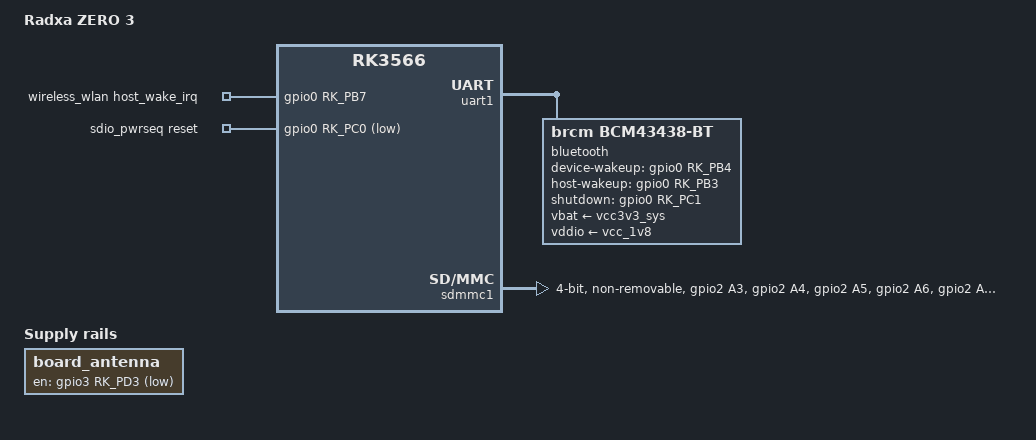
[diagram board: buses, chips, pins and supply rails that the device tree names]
// SPDX-License-Identifier: (GPL-2.0+ OR MIT)
/*
 * Copyright (c) 2022 Rockchip Electronics Co., Ltd.
 * Copyright (c) 2023 Radxa Limited.
 *
 */

/dts-v1/;

#include "rk3566-radxa-zero3.dtsi"

/ {
	model = "Radxa ZERO 3";
	compatible ="radxa,zero3", "rockchip,rk3566";

	wireless_wlan: wireless-wlan {
		compatible = "wlan-platdata";
		wifi_chip_type = "ap6212";
		pinctrl-names = "default";
		pinctrl-0 = <&wifi_host_wake_irq>;
		WIFI,host_wake_irq = <&gpio0 RK_PB7 GPIO_ACTIVE_HIGH>;
		status = "okay";
	};

	sdio_pwrseq: sdio-pwrseq {
		compatible = "mmc-pwrseq-simple";
		pinctrl-names = "default";
		pinctrl-0 = <&wifi_enable_h>;
		reset-gpios = <&gpio0 RK_PC0 GPIO_ACTIVE_LOW>;
	};

	board_antenna: board-antenna {
		status = "okay";
		compatible = "regulator-fixed";
		enable-active-low;
		gpio = <&gpio3 RK_PD3 GPIO_ACTIVE_LOW>;
		regulator-always-on;
		regulator-boot-on;
		pinctrl-0 = <&ant_1>;
		pinctrl-names = "default";
		regulator-name = "board_antenna";
	};
};

&uart1 {
	status = "okay";
	pinctrl-names = "default";
	pinctrl-0 = <&uart1m0_xfer &uart1m0_ctsn &uart1m0_rtsn>;

	bluetooth {
		compatible = "brcm,bcm43438-bt";
		clocks = <&rk817 1>;
		clock-names = "lpo";
		device-wakeup-gpios = <&gpio0 RK_PB4 GPIO_ACTIVE_HIGH>;
		host-wakeup-gpios = <&gpio0 RK_PB3 GPIO_ACTIVE_HIGH>;
		shutdown-gpios = <&gpio0 RK_PC1 GPIO_ACTIVE_HIGH>;
		max-speed = <1500000>;
		pinctrl-names = "default";
		pinctrl-0 = <&bt_host_wake_l &bt_wake_l &bt_enable_h>;
		vbat-supply = <&vcc3v3_sys>;
		vddio-supply = <&vcc_1v8>;
	};
};

&sdmmc1 {
	supports-sdio;
	bus-width = <4>;
	disable-wp;
	cap-sd-highspeed;
	cap-sdio-irq;
	keep-power-in-suspend;
	non-removable;
	rockchip,default-sample-phase = <180>;
	mmc-pwrseq = <&sdio_pwrseq>;
	non-removable;
	no-sd;
	no-mmc;
	pinctrl-names = "default";
	pinctrl-0 = <&sdmmc1_bus4 &sdmmc1_cmd &sdmmc1_clk>;
	sd-uhs-sdr104;
	status = "okay";
};

&pinctrl {
	wifi {
		wifi_enable_h: wifi-enable-h {
			rockchip,pins = <0 RK_PC0 RK_FUNC_GPIO &pcfg_pull_none>;
		};

		wifi_host_wake_irq: wifi-host-wake-irq {
			rockchip,pins = <0 RK_PB7 RK_FUNC_GPIO &pcfg_pull_down>;
		};
	};

	bt {
		bt_enable_h: bt-enable-h {
			rockchip,pins = <0 RK_PC1 RK_FUNC_GPIO &pcfg_pull_none>;
		};

		bt_host_wake_l: bt-host-wake-l {
			rockchip,pins = <0 RK_PB3 RK_FUNC_GPIO &pcfg_pull_none>;
		};

		bt_wake_l: bt-wake-l {
			rockchip,pins = <0 RK_PB4 RK_FUNC_GPIO &pcfg_pull_none>;
		};
	};

	sdmmc1 {
		/omit-if-no-ref/
		sdmmc1_bus4: sdmmc1-bus4 {
			rockchip,pins =
				/* sdmmc1_d0 */
				<2 RK_PA3 1 &pcfg_pull_up_drv_level_12>,
				/* sdmmc1_d1 */
				<2 RK_PA4 1 &pcfg_pull_up_drv_level_12>,
				/* sdmmc1_d2 */
				<2 RK_PA5 1 &pcfg_pull_up_drv_level_12>,
				/* sdmmc1_d3 */
				<2 RK_PA6 1 &pcfg_pull_up_drv_level_12>;
		};

		/omit-if-no-ref/
		sdmmc1_clk: sdmmc1-clk {
			rockchip,pins =
				/* sdmmc1_clk */
				<2 RK_PB0 1 &pcfg_pull_up_drv_level_12>;
		};

		/omit-if-no-ref/
		sdmmc1_cmd: sdmmc1-cmd {
			rockchip,pins =
				/* sdmmc1_cmd */
				<2 RK_PA7 1 &pcfg_pull_up_drv_level_12>;
		};

		/omit-if-no-ref/
		sdmmc1_det: sdmmc1-det {
			rockchip,pins =
				/* sdmmc1_det */
				<2 RK_PB2 1 &pcfg_pull_up>;
		};

		/omit-if-no-ref/
		sdmmc1_pwren: sdmmc1-pwren {
			rockchip,pins =
				/* sdmmc1_pwren */
				<2 RK_PB1 1 &pcfg_pull_none>;
		};
	};

	antenna {
		ant_1: ant-1 {
			rockchip,pins = <3 RK_PD3 RK_FUNC_GPIO &pcfg_pull_down>;
		};
	};
};
